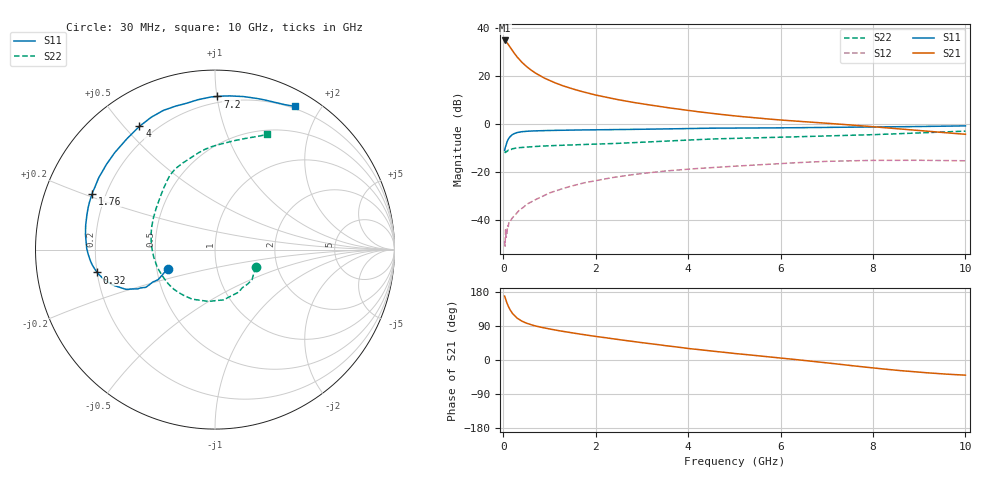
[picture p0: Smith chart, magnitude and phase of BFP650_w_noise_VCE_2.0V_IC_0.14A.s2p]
! Infineon Technologies  Discrete & RF Semiconductors
! BFP650
! VCE =  2.0 V,  IC = 0.14 A
! Common Emitter S-Parameters:  Jan 2016
# GHz  S  MA  R  50
!  f  S11  S21  S12  S22
! GHz  MAG  ANG  MAG  ANG  MAG  ANG  MAG  ANG
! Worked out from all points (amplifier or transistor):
!   229 points, 30 MHz to 10 GHz, reference 50 ohm
!   highest |S21| = 34.9 dB at 30 MHz (marker M1)
!   |S21| within 3 dB of that: start of sweep to 155.7 MHz
!   unconditionally stable (mu >= 1): start of sweep to 194.9 MHz; 392.7 MHz to end of sweep
!   at 280 MHz: K = 1.00, MSG = 33.0 dB, |S12| = -37.5 dB
!   at 1.78 GHz: K = 1.10, MAG = 17.0 dB, |S12| = -24.5 dB
!   at 10 GHz: K = 1.08, MAG = 3.9 dB, |S12| = -15.4 dB
!   lowest NFmin = 1.78 dB at 450 MHz
!   S11 on the Smith chart (normalised r, x): 30 MHz: 0.57, -0.13; 320 MHz: 0.20, -0.09; 1.76 GHz: 0.15, +0.21; 4 GHz: 0.14, +0.55; 7.2 GHz: 0.16, +1.00; 10 GHz: 0.17, +1.69
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0.03  0.2822 -157.8  55.7 168.7  0.0035 58.7  0.2493 -22.9
0.06  0.3595 -152.1  52.94 157.8  0.0043 80.3  0.2645 -46.5
0.08  0.415 -151.8  50.26 150.6  0.005 63.2  0.2712 -60.8
0.11  0.4823 -153.0  45.9 141.7  0.0072 64.6  0.2843 -80.2
0.13  0.5174 -154.9  42.9 136.6  0.0089 59.8  0.2845 -89.7
0.15  0.5462 -156.2  40.18 132.1  0.0092 57.8  0.291 -97.7
0.2  0.6033 -160.9  34.06 122.8  0.011 62.8  0.3042 -114.8
0.26  0.6427 -165.3  28.34 114.9  0.0126 63.8  0.3119 -128.3
0.32  0.668 -169.0  23.98 109.0  0.0148 62.6  0.3192 -138.3
0.4  0.6897 -173.0  19.67 102.8  0.0171 64.5  0.3245 -148.2
0.5  0.7045 -177.1  16.02 97.3  0.0208 64.2  0.3305 -157.1
0.8  0.7248 174.4  10.13 86.8  0.0291 62.8  0.3442 -173.3
1.2  0.7385 165.8  6.777 77.4  0.0421 62.0  0.3569 173.6
1.7  0.7513 156.6  4.776 67.7  0.0576 57.4  0.3719 162.4
1.76  0.7525 155.5  4.615 66.6  0.0592 57.2  0.3738 161.1
3.4  0.7855 129.9  2.313 39.8  0.1016 38.6  0.4315 133.7
4  0.8055 121.5  1.918 30.4  0.1141 31.9  0.4624 126.1
5.1  0.8271 109.3  1.448 16.2  0.133 21.2  0.5044 114.8
6.8  0.8459 93.5  1.073 -4.8  0.1626 3.9  0.5557 97.2
7.2  0.8533 89.1  1.007 -10.2  0.1676 -0.7  0.5682 93.4
8.4  0.874 74.4  0.816 -25.8  0.1743 -13.8  0.6183 79.5
10  0.9141 60.8  0.611 -40.0  0.1706 -26.3  0.7081 65.7
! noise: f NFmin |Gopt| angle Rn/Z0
0.45  1.78  0.64  -171  0.06
0.9  1.8  0.65  -164  0.07
1.9  1.98  0.67  -149  0.12
2.4  2.15  0.65  -140  0.18
3.5  2.42  0.65  -118  0.33
